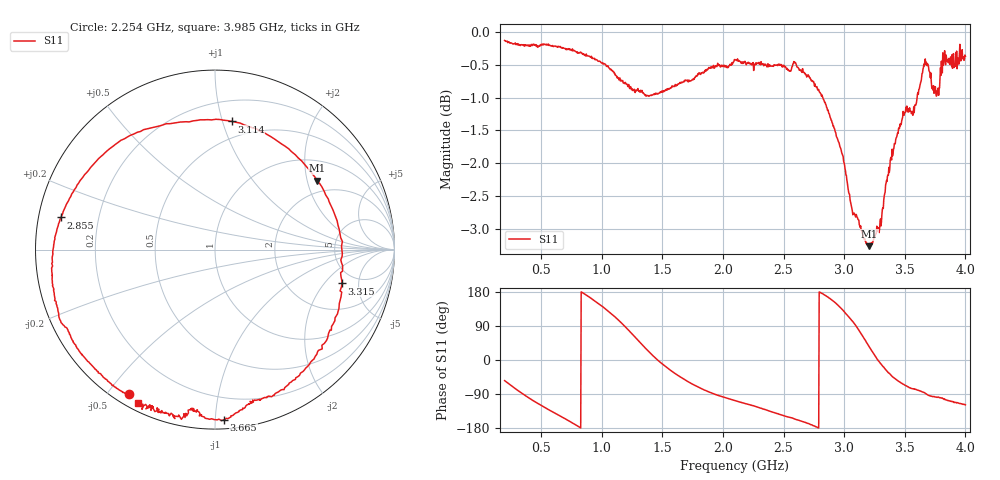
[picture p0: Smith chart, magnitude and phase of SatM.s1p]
# MHz S MA R 50
!  freq  S11
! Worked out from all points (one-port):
!   1000 points, 200 MHz to 4 GHz, reference 50 ohm
!   lowest |S11| = -3.3 dB at 3.209 GHz (marker M1), VSWR 5.39, Z = 79.1 + j115 ohm
!   |S11| at or under -10 dB: nowhere
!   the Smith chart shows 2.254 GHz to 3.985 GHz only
!   S11 on the Smith chart (normalised r, x): 2.254 GHz: 0.04, -0.57; 2.855 GHz: 0.07, +0.10; 3.114 GHz: 0.36, +1.07; 3.315 GHz: 3.84, -3.12; 3.665 GHz: 0.05, -1.05; 3.985 GHz: 0.03, -0.62
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200  0.9852 -54.4
302.703  0.9791 -79.0
409.209  0.9767 -102.0
542.342  0.9774 -127.4
675.475  0.973 -150.9
812.412  0.9639 -176.2
926.527  0.9545 159.9
1036.837  0.9426 133.7
1150.951  0.9225 101.7
1261.261  0.9029 65.5
1390.591  0.8933 21.6
1493.293  0.8998 -8.6
1626.426  0.9115 -39.9
1820.42  0.9305 -75.0
2101.902  0.9524 -107.3
2254.054  0.9347 -120.7
2577.377  0.9452 -153.7
2855.055  0.8762 168.2
2957.758  0.8236 142.1
3052.853  0.7421 108.4
3113.714  0.72 82.7
3208.809  0.6868 34.1
3315.315  0.7327 -14.9
3414.214  0.8222 -47.9
3528.328  0.8739 -70.7
3665.265  0.9494 -87.1
3984.785  0.9563 -116.6
4000  0.9582 -118.4
